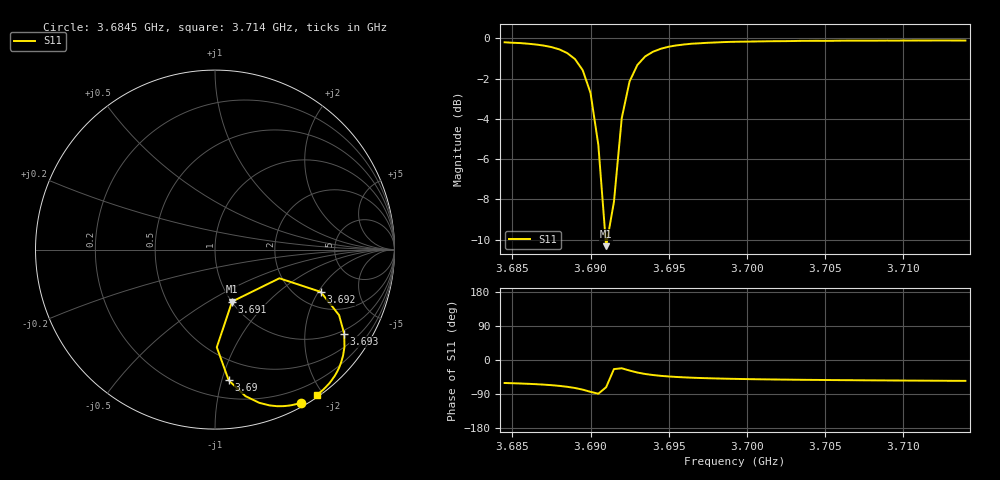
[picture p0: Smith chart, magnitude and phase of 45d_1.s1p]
# Hz S  RI  R 50
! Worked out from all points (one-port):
!   60 points, 3.6845 GHz to 3.714 GHz, reference 50 ohm
!   lowest |S11| = -10.3 dB at 3.691 GHz (marker M1), VSWR 1.88, Z = 50.2 - j32.1 ohm
!   |S11| at or under -10 dB: 3.690968 GHz to 3.691073 GHz (104.3 kHz wide, 0.00283 % of centre)
!   S11 on the Smith chart (normalised r, x): 3.6845 GHz: 0.04, -1.71; 3.69 GHz: 0.34, -1.05; 3.691 GHz: 1.00, -0.64; 3.692 GHz: 2.66, -2.10; 3.693 GHz: 0.88, -3.14; 3.714 GHz: 0.03, -1.92
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3.6845e9  0.4787 -0.853
3.6855e9  0.4571 -0.8598
3.686e9  0.443 -0.8632
3.687e9  0.4062 -0.8698
3.6875e9  0.381 -0.8722
3.688e9  0.3479 -0.8726
3.6885e9  0.3048 -0.8682
3.689e9  0.2474 -0.854
3.6895e9  0.17 -0.8166
3.69e9  0.0763 -0.7282
3.6905e9  0.01 -0.5441
3.691e9  0.0951 -0.2896
3.6915e9  0.3589 -0.1597
3.692e9  0.5889 -0.2355
3.6925e9  0.6914 -0.3654
3.693e9  0.7198 -0.469
3.6935e9  0.7213 -0.5419
3.694e9  0.7133 -0.5917
3.6945e9  0.7026 -0.6284
3.695e9  0.6923 -0.656
3.696e9  0.6736 -0.6926
3.6965e9  0.6653 -0.7065
3.6975e9  0.6516 -0.726
3.6995e9  0.6306 -0.7521
3.703e9  0.6066 -0.7765
3.707e9  0.5885 -0.7929
3.7105e9  0.5764 -0.8026
3.714e9  0.5657 -0.81
